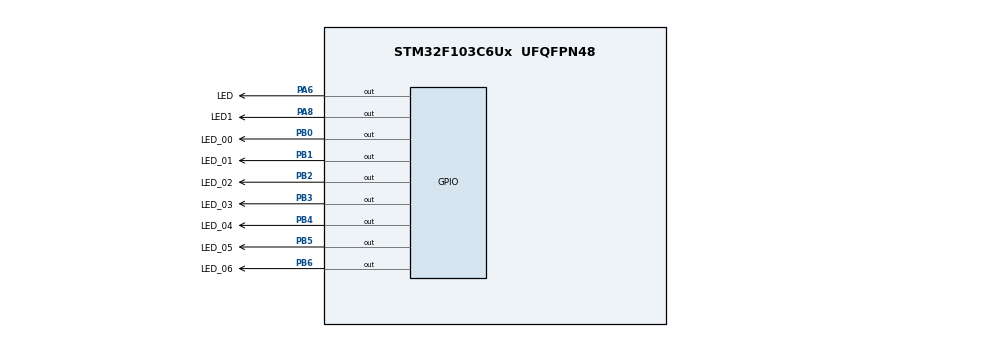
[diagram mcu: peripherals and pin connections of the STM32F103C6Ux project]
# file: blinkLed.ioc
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Mcu.Family=STM32F1
Mcu.Name=STM32F103C6Ux
Mcu.Package=UFQFPN48
NVIC.PriorityGroup=NVIC_PRIORITYGROUP_4
NVIC.TIM2_IRQn=true\:0\:0\:false\:false\:true\:true\:true
PA6.GPIO_Label=LED
PA6.Signal=GPIO_Output
PA8.GPIO_Label=LED1
PA8.Signal=GPIO_Output
PB0.GPIO_Label=LED_00
PB0.Signal=GPIO_Output
PB1.GPIO_Label=LED_01
PB1.Signal=GPIO_Output
PB2.GPIO_Label=LED_02
PB2.Signal=GPIO_Output
PB3.GPIO_Label=LED_03
PB3.Signal=GPIO_Output
PB4.GPIO_Label=LED_04
PB4.Signal=GPIO_Output
PB5.GPIO_Label=LED_05
PB5.Signal=GPIO_Output
PB6.GPIO_Label=LED_06
PB6.Signal=GPIO_Output
ProjectManager.HeapSize=0x200
ProjectManager.StackSize=0x400
ProjectManager.TargetToolchain=STM32CubeIDE
RCC.APB1Freq_Value=8000000
RCC.APB2Freq_Value=8000000
TIM2.Period=9
TIM2.Prescaler=7999
VP_SYS_VS_ND.Mode=No_Debug
VP_TIM2_VS_ClockSourceINT.Mode=Internal
board=custom

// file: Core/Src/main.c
/* USER CODE BEGIN Header */
/**
  ******************************************************************************
  * @file           : main.c
  * @brief          : Main program body
  ******************************************************************************
  * @attention
  *
  * <h2><center>&copy; Copyright (c) 2024 STMicroelectronics.
  * All rights reserved.</center></h2>
  *
  * This software component is licensed by ST under BSD 3-Clause license,
  * the "License"; You may not use this file except in compliance with the
  * License. You may obtain a copy of the License at:
  *                        opensource.org/licenses/BSD-3-Clause
  *
  ******************************************************************************
  */
/* USER CODE END Header */
#include "main.h"

/* USER CODE BEGIN Includes */
#include <scheduler.h>
/* USER CODE END Includes */

TIM_HandleTypeDef htim2;

void SystemClock_Config(void);
static void MX_GPIO_Init(void);
static void MX_TIM2_Init(void);

/* USER CODE BEGIN 0 */
int r=25;
int counter;

int num=0;
void LedBlinky(){
	HAL_GPIO_TogglePin(LED_GPIO_Port,LED_Pin);
}
void LedBlinky1(){
	HAL_GPIO_TogglePin(LED_GPIO_Port,LED1_Pin);
}
void display7SEG(){
	num=(num+1)%10;
	  switch(num){
	  case 0 :
		  HAL_GPIO_WritePin ( LED_00_GPIO_Port , LED_00_Pin , GPIO_PIN_RESET ) ;
		  HAL_GPIO_WritePin ( LED_01_GPIO_Port , LED_01_Pin , GPIO_PIN_RESET ) ;
		  HAL_GPIO_WritePin ( LED_02_GPIO_Port , LED_02_Pin , GPIO_PIN_RESET ) ;
		  HAL_GPIO_WritePin ( LED_03_GPIO_Port , LED_03_Pin , GPIO_PIN_RESET ) ;
		  HAL_GPIO_WritePin ( LED_04_GPIO_Port , LED_04_Pin , GPIO_PIN_RESET ) ;
		  HAL_GPIO_WritePin ( LED_05_GPIO_Port , LED_05_Pin , GPIO_PIN_RESET ) ;
		  HAL_GPIO_WritePin ( LED_06_GPIO_Port , LED_06_Pin , GPIO_PIN_SET ) ;
		  break;
	  case 1 :
		  HAL_GPIO_WritePin ( LED_00_GPIO_Port , LED_00_Pin , GPIO_PIN_SET ) ;
		  HAL_GPIO_WritePin ( LED_01_GPIO_Port , LED_01_Pin , GPIO_PIN_RESET ) ;
		  HAL_GPIO_WritePin ( LED_02_GPIO_Port , LED_02_Pin , GPIO_PIN_RESET ) ;
		  HAL_GPIO_WritePin ( LED_03_GPIO_Port , LED_03_Pin , GPIO_PIN_SET ) ;
		  HAL_GPIO_WritePin ( LED_04_GPIO_Port , LED_04_Pin , GPIO_PIN_SET ) ;
		  HAL_GPIO_WritePin ( LED_05_GPIO_Port , LED_05_Pin , GPIO_PIN_SET ) ;
		  HAL_GPIO_WritePin ( LED_06_GPIO_Port , LED_06_Pin , GPIO_PIN_SET ) ;
		  break;
	  case 2 :
		  HAL_GPIO_WritePin ( LED_00_GPIO_Port , LED_00_Pin , GPIO_PIN_RESET ) ;
		  HAL_GPIO_WritePin ( LED_01_GPIO_Port , LED_01_Pin , GPIO_PIN_RESET ) ;
		  HAL_GPIO_WritePin ( LED_02_GPIO_Port , LED_02_Pin , GPIO_PIN_SET ) ;
		  HAL_GPIO_WritePin ( LED_03_GPIO_Port , LED_03_Pin , GPIO_PIN_RESET ) ;
		  HAL_GPIO_WritePin ( LED_04_GPIO_Port , LED_04_Pin , GPIO_PIN_RESET ) ;
		  HAL_GPIO_WritePin ( LED_05_GPIO_Port , LED_05_Pin , GPIO_PIN_SET ) ;
		  HAL_GPIO_WritePin ( LED_06_GPIO_Port , LED_06_Pin , GPIO_PIN_RESET ) ;
		  break;
	  case 3 :
		  HAL_GPIO_WritePin ( LED_00_GPIO_Port , LED_00_Pin , GPIO_PIN_RESET ) ;
		  HAL_GPIO_WritePin ( LED_01_GPIO_Port , LED_01_Pin , GPIO_PIN_RESET ) ;
		  HAL_GPIO_WritePin ( LED_02_GPIO_Port , LED_02_Pin , GPIO_PIN_RESET ) ;
		  HAL_GPIO_WritePin ( LED_03_GPIO_Port , LED_03_Pin , GPIO_PIN_RESET ) ;
		  HAL_GPIO_WritePin ( LED_04_GPIO_Port , LED_04_Pin , GPIO_PIN_SET ) ;
		  HAL_GPIO_WritePin ( LED_05_GPIO_Port , LED_05_Pin , GPIO_PIN_SET ) ;
		  HAL_GPIO_WritePin ( LED_06_GPIO_Port , LED_06_Pin , GPIO_PIN_RESET ) ;
		  break;
	  case 4 :
		  HAL_GPIO_WritePin ( LED_00_GPIO_Port , LED_00_Pin , GPIO_PIN_SET ) ;
		  HAL_GPIO_WritePin ( LED_01_GPIO_Port , LED_01_Pin , GPIO_PIN_RESET ) ;
		  HAL_GPIO_WritePin ( LED_02_GPIO_Port , LED_02_Pin , GPIO_PIN_RESET ) ;
		  HAL_GPIO_WritePin ( LED_03_GPIO_Port , LED_03_Pin , GPIO_PIN_SET ) ;
		  HAL_GPIO_WritePin ( LED_04_GPIO_Port , LED_04_Pin , GPIO_PIN_SET ) ;
		  HAL_GPIO_WritePin ( LED_05_GPIO_Port , LED_05_Pin , GPIO_PIN_RESET ) ;
		  HAL_GPIO_WritePin ( LED_06_GPIO_Port , LED_06_Pin , GPIO_PIN_RESET ) ;
		  break;
	  case 5 :
		  HAL_GPIO_WritePin ( LED_00_GPIO_Port , LED_00_Pin , GPIO_PIN_RESET ) ;
		  HAL_GPIO_WritePin ( LED_01_GPIO_Port , LED_01_Pin , GPIO_PIN_SET ) ;
		  HAL_GPIO_WritePin ( LED_02_GPIO_Port , LED_02_Pin , GPIO_PIN_RESET ) ;
		  HAL_GPIO_WritePin ( LED_03_GPIO_Port , LED_03_Pin , GPIO_PIN_RESET ) ;
		  HAL_GPIO_WritePin ( LED_04_GPIO_Port , LED_04_Pin , GPIO_PIN_SET ) ;
		  HAL_GPIO_WritePin ( LED_05_GPIO_Port , LED_05_Pin , GPIO_PIN_RESET ) ;
		  HAL_GPIO_WritePin ( LED_06_GPIO_Port , LED_06_Pin , GPIO_PIN_RESET ) ;
		  break;
	  case 6 :
		  HAL_GPIO_WritePin ( LED_00_GPIO_Port , LED_00_Pin , GPIO_PIN_RESET ) ;
		  HAL_GPIO_WritePin ( LED_01_GPIO_Port , LED_01_Pin , GPIO_PIN_SET ) ;
		  HAL_GPIO_WritePin ( LED_02_GPIO_Port , LED_02_Pin , GPIO_PIN_RESET ) ;
		  HAL_GPIO_WritePin ( LED_03_GPIO_Port , LED_03_Pin , GPIO_PIN_RESET ) ;
		  HAL_GPIO_WritePin ( LED_04_GPIO_Port , LED_04_Pin , GPIO_PIN_RESET ) ;
		  HAL_GPIO_WritePin ( LED_05_GPIO_Port , LED_05_Pin , GPIO_PIN_RESET ) ;
		  HAL_GPIO_WritePin ( LED_06_GPIO_Port , LED_06_Pin , GPIO_PIN_RESET ) ;
		  break;
	  case 7 :
		  HAL_GPIO_WritePin ( LED_00_GPIO_Port , LED_00_Pin , GPIO_PIN_RESET ) ;
		  HAL_GPIO_WritePin ( LED_01_GPIO_Port , LED_01_Pin , GPIO_PIN_RESET ) ;
		  HAL_GPIO_WritePin ( LED_02_GPIO_Port , LED_02_Pin , GPIO_PIN_RESET ) ;
		  HAL_GPIO_WritePin ( LED_03_GPIO_Port , LED_03_Pin , GPIO_PIN_SET ) ;
		  HAL_GPIO_WritePin ( LED_04_GPIO_Port , LED_04_Pin , GPIO_PIN_SET ) ;
		  HAL_GPIO_WritePin ( LED_05_GPIO_Port , LED_05_Pin , GPIO_PIN_SET ) ;
		  HAL_GPIO_WritePin ( LED_06_GPIO_Port , LED_06_Pin , GPIO_PIN_SET ) ;
		  break;

	  case 8 :
		  HAL_GPIO_WritePin ( LED_00_GPIO_Port , LED_00_Pin , GPIO_PIN_RESET ) ;
		  HAL_GPIO_WritePin ( LED_01_GPIO_Port , LED_01_Pin , GPIO_PIN_RESET ) ;
		  HAL_GPIO_WritePin ( LED_02_GPIO_Port , LED_02_Pin , GPIO_PIN_RESET ) ;
		  HAL_GPIO_WritePin ( LED_03_GPIO_Port , LED_03_Pin , GPIO_PIN_RESET ) ;
		  HAL_GPIO_WritePin ( LED_04_GPIO_Port , LED_04_Pin , GPIO_PIN_RESET ) ;
		  HAL_GPIO_WritePin ( LED_05_GPIO_Port , LED_05_Pin , GPIO_PIN_RESET ) ;
		  HAL_GPIO_WritePin ( LED_06_GPIO_Port , LED_06_Pin , GPIO_PIN_RESET ) ;
		  break;

	  case 9 :
		  HAL_GPIO_WritePin ( LED_00_GPIO_Port , LED_00_Pin , GPIO_PIN_RESET ) ;
		  HAL_GPIO_WritePin ( LED_01_GPIO_Port , LED_01_Pin , GPIO_PIN_RESET ) ;
		  HAL_GPIO_WritePin ( LED_02_GPIO_Port , LED_02_Pin , GPIO_PIN_RESET ) ;
		  HAL_GPIO_WritePin ( LED_03_GPIO_Port , LED_03_Pin , GPIO_PIN_RESET ) ;
		  HAL_GPIO_WritePin ( LED_04_GPIO_Port , LED_04_Pin , GPIO_PIN_SET ) ;
		  HAL_GPIO_WritePin ( LED_05_GPIO_Port , LED_05_Pin , GPIO_PIN_RESET ) ;
		  HAL_GPIO_WritePin ( LED_06_GPIO_Port , LED_06_Pin , GPIO_PIN_RESET ) ;
		  break;
	  default :
		  break;
	  }

  }

/* USER CODE END 0 */

int main(void)
{

  /* MCU Configuration--------------------------------------------------------*/

  /* Reset of all peripherals, Initializes the Flash interface and the Systick. */
  HAL_Init();

  /* Configure the system clock */
  SystemClock_Config();

  /* Initialize all configured peripherals */
  MX_GPIO_Init();
  MX_TIM2_Init();
  /* USER CODE BEGIN 2 */
  HAL_TIM_Base_Start_IT (& htim2 ) ;
  SCH_Add_Task(LedBlinky,0,100);
  SCH_Add_Task(LedBlinky1,100,100);
  SCH_Add_Task(display7SEG,0,r);
//  SCH_Add_Task(display7SEG_0,r,10*r);
//  SCH_Add_Task(display7SEG_1,2*r,10*r);
//  SCH_Add_Task(display7SEG_2,3*r,10*r);
//  SCH_Add_Task(display7SEG_3,4*r,10*r);
//  SCH_Add_Task(display7SEG_4,5*r,10*r);
//  SCH_Add_Task(display7SEG_5,6*r,10*r);
//  SCH_Add_Task(display7SEG_6,7*r,10*r);
//  SCH_Add_Task(display7SEG_7,8*r,10*r);
//  SCH_Add_Task(display7SEG_8,9*r,10*r);
//  SCH_Add_Task(display7SEG_9,10*r,10*r);
  /* USER CODE END 2 */

  /* Infinite loop */
  while (1)
  {

    /* USER CODE BEGIN 3 */
	  SCH_Dispatch_Tasks();

  }
  /* USER CODE END 3 */
}

void SystemClock_Config(void)
{
  RCC_OscInitTypeDef RCC_OscInitStruct = {0};
  RCC_ClkInitTypeDef RCC_ClkInitStruct = {0};

  /** Initializes the RCC Oscillators according to the specified parameters
  * in the RCC_OscInitTypeDef structure.
  */
  RCC_OscInitStruct.OscillatorType = RCC_OSCILLATORTYPE_HSI;
  RCC_OscInitStruct.HSIState = RCC_HSI_ON;
  RCC_OscInitStruct.HSICalibrationValue = RCC_HSICALIBRATION_DEFAULT;
  RCC_OscInitStruct.PLL.PLLState = RCC_PLL_NONE;
  if (HAL_RCC_OscConfig(&RCC_OscInitStruct) != HAL_OK)
  {
    Error_Handler();
  }
  /** Initializes the CPU, AHB and APB buses clocks
  */
  RCC_ClkInitStruct.ClockType = RCC_CLOCKTYPE_HCLK|RCC_CLOCKTYPE_SYSCLK
                              |RCC_CLOCKTYPE_PCLK1|RCC_CLOCKTYPE_PCLK2;
  RCC_ClkInitStruct.SYSCLKSource = RCC_SYSCLKSOURCE_HSI;
  RCC_ClkInitStruct.AHBCLKDivider = RCC_SYSCLK_DIV1;
  RCC_ClkInitStruct.APB1CLKDivider = RCC_HCLK_DIV1;
  RCC_ClkInitStruct.APB2CLKDivider = RCC_HCLK_DIV1;

  if (HAL_RCC_ClockConfig(&RCC_ClkInitStruct, FLASH_LATENCY_0) != HAL_OK)
  {
    Error_Handler();
  }
}

static void MX_TIM2_Init(void)
{

  TIM_ClockConfigTypeDef sClockSourceConfig = {0};
  TIM_MasterConfigTypeDef sMasterConfig = {0};

  htim2.Instance = TIM2;
  htim2.Init.Prescaler = 7999;
  htim2.Init.CounterMode = TIM_COUNTERMODE_UP;
  htim2.Init.Period = 9;
  htim2.Init.ClockDivision = TIM_CLOCKDIVISION_DIV1;
  htim2.Init.AutoReloadPreload = TIM_AUTORELOAD_PRELOAD_DISABLE;
  if (HAL_TIM_Base_Init(&htim2) != HAL_OK)
  {
    Error_Handler();
  }
  sClockSourceConfig.ClockSource = TIM_CLOCKSOURCE_INTERNAL;
  if (HAL_TIM_ConfigClockSource(&htim2, &sClockSourceConfig) != HAL_OK)
  {
    Error_Handler();
  }
  sMasterConfig.MasterOutputTrigger = TIM_TRGO_RESET;
  sMasterConfig.MasterSlaveMode = TIM_MASTERSLAVEMODE_DISABLE;
  if (HAL_TIMEx_MasterConfigSynchronization(&htim2, &sMasterConfig) != HAL_OK)
  {
    Error_Handler();
  }

}

static void MX_GPIO_Init(void)
{
  GPIO_InitTypeDef GPIO_InitStruct = {0};

  /* GPIO Ports Clock Enable */
  __HAL_RCC_GPIOA_CLK_ENABLE();
  __HAL_RCC_GPIOB_CLK_ENABLE();

  /*Configure GPIO pin Output Level */
  HAL_GPIO_WritePin(GPIOA, LED_Pin|LED1_Pin, GPIO_PIN_RESET);

  /*Configure GPIO pin Output Level */
  HAL_GPIO_WritePin(GPIOB, LED_00_Pin|LED_01_Pin|LED_02_Pin|LED_03_Pin
                          |LED_04_Pin|LED_05_Pin|LED_06_Pin, GPIO_PIN_RESET);

  /*Configure GPIO pins : LED_Pin LED1_Pin */
  GPIO_InitStruct.Pin = LED_Pin|LED1_Pin;
  GPIO_InitStruct.Mode = GPIO_MODE_OUTPUT_PP;
  GPIO_InitStruct.Pull = GPIO_NOPULL;
  GPIO_InitStruct.Speed = GPIO_SPEED_FREQ_LOW;
  HAL_GPIO_Init(GPIOA, &GPIO_InitStruct);

  /*Configure GPIO pins : LED_00_Pin LED_01_Pin LED_02_Pin LED_03_Pin
                           LED_04_Pin LED_05_Pin LED_06_Pin */
  GPIO_InitStruct.Pin = LED_00_Pin|LED_01_Pin|LED_02_Pin|LED_03_Pin
                          |LED_04_Pin|LED_05_Pin|LED_06_Pin;
  GPIO_InitStruct.Mode = GPIO_MODE_OUTPUT_PP;
  GPIO_InitStruct.Pull = GPIO_NOPULL;
  GPIO_InitStruct.Speed = GPIO_SPEED_FREQ_LOW;
  HAL_GPIO_Init(GPIOB, &GPIO_InitStruct);

}

/* USER CODE BEGIN 4 */
void HAL_TIM_PeriodElapsedCallback ( TIM_HandleTypeDef * htim )
{
	counter++;
	SCH_Update();
}
/* USER CODE END 4 */

void Error_Handler(void)
{
  __disable_irq();
  while (1)
  {
  }
}

/************************ (C) COPYRIGHT STMicroelectronics *****END OF FILE****/
